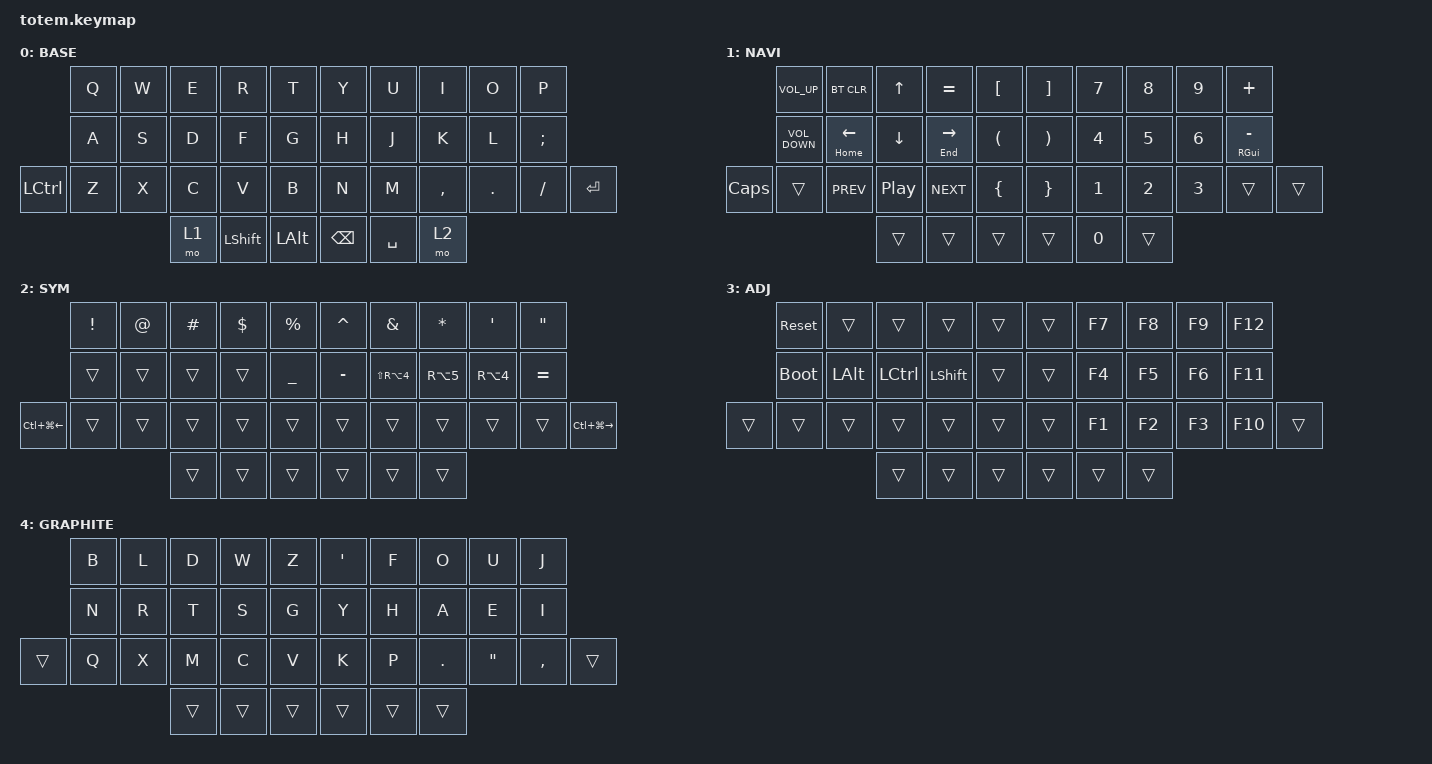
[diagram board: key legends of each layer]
//
//                                                        ▀▀▀▀▀     ▀▀▀▀▀          ▀▀█▀▀
//                                                        ▄▀▀▀▄  ▄  ▄▀▀▀▄  ▄  ▄▀▀▀▄  █  ▄▀▀▀▄
//                                                        █   █  █  █   █  █  █   █  █  █   █
//                                                         ▀▀▀   █   ▀▀▀   █   ▀▀▀   ▀   ▀▀▀
//                                                               █      ▄▄▄█▄▄▄    █   █  
//                                                               ▀      █  █  █     █▄█
//                                                             ▀▀▀▀▀    █  █  █      ▀
//                                                                      ▀  ▀  ▀
//
// ▄▄▄▄▄▄▄▄▄▄▄▄▄▄▄▄▄▄▄▄▄▄▄▄▄▄▄▄▄▄▄▄▄▄▄▄▄▄▄▄▄▄▄▄▄▄▄▄▄▄▄▄▄▄▄▄▄▄▄▄▄▄▄▄▄▄▄▄▄▄▄▄▄▄▄▄▄▄▄▄▄▄▄▄▄▄▄▄▄▄▄▄▄▄▄▄▄▄▄▄▄▄▄▄▄▄▄▄▄▄▄▄▄▄▄▄▄▄▄▄▄▄▄▄▄▄▄▄▄▄▄▄▄▄▄▄▄▄▄▄▄▄▄▄▄▄▄▄▄

#include <behaviors.dtsi>
#include <dt-bindings/zmk/bt.h>
#include <dt-bindings/zmk/keys.h>

#define BASE 0
#define NAV  1
#define SYM  2
#define ADJ  3
#define GRAPHITE 4

&mt {
    quick-tap-ms = <100>;
    global-quick-tap;
    flavor = "tap-preferred";
    tapping-term-ms = <170>;
};

/ {
    combos {
        compatible = "zmk,combos";

        combo_esc {
            timeout-ms = <50>;
            key-positions = <0 1>;
            bindings = <&kp ESC>;
        };

        layer3 {
            bindings = <&mo 3>;
            key-positions = <32 37>;
        };

        ToggleGraphite {
            bindings = <&tog 4>;
            key-positions = <20 31 34 35>;
        };
    };

    keymap {
        compatible = "zmk,keymap";

        // ▄▄▄▄▄▄▄▄▄▄▄▄▄▄▄▄▄▄▄▄▄▄▄▄▄▄▄▄▄▄▄▄▄▄▄▄▄▄▄▄▄▄▄▄▄▄▄▄▄▄▄▄▄▄▄▄▄▄▄▄▄▄▄▄▄▄▄▄▄▄▄▄▄▄▄▄▄▄▄▄▄▄▄▄▄▄▄▄▄▄▄▄▄▄▄▄▄▄▄▄▄▄▄▄▄▄▄▄▄▄▄▄▄▄▄▄▄▄▄▄▄▄▄▄▄▄▄▄▄▄▄▄▄▄▄▄▄▄▄▄▄▄▄▄▄▄▄▄▄

        base_layer {
            // ┏━━━━━━━━━━━━━━━━━━━━━━━━━━━━━━━━━━━━━━━┓

            label = "BASE";

            // ┗━━━━━━━━━━━━━━━━━━━━━━━━━━━━━━━━━━━━━━━┛
            //             ┏━━━━━━━━━━━┳━━━━━━━━━━━┳━━━━━━━━━━━┳━━━━━━━━━━━┳━━━━━━━━━━━┓   ┏━━━━━━━━━━━┳━━━━━━━━━━━┳━━━━━━━━━━━┳━━━━━━━━━━━┳━━━━━━━━━━━┓
            //             ┃     Q     ┃     W     ┃     E     ┃     R     ┃     T     ┃   ┃     Y     ┃     U     ┃     I     ┃     O     ┃     P     ┃
            //             ┣━━━━━━━━━━━╋━━━━━━━━━━━╋━━━━━━━━━━━╋━━━━━━━━━━━╋━━━━━━━━━━━┫   ┣━━━━━━━━━━━╋━━━━━━━━━━━╋━━━━━━━━━━━╋━━━━━━━━━━━╋━━━━━━━━━━━┫
            //             ┃     A     ┃     S     ┃     D     ┃     F     ┃     G     ┃   ┃     H     ┃     J     ┃     K     ┃     L     ┃     ;     ┃
            // ┏━━━━━━━━━━━╋━━━━━━━━━━━╋━━━━━━━━━━━╋━━━━━━━━━━━╋━━━━━━━━━━━╋━━━━━━━━━━━┫   ┣━━━━━━━━━━━╋━━━━━━━━━━━╋━━━━━━━━━━━╋━━━━━━━━━━━╋━━━━━━━━━━━╋━━━━━━━━━━━┓
            // ┃     Q     ┃     Z     ┃     X     ┃     C     ┃     V     ┃     B     ┃   ┃     N     ┃     M     ┃     ,     ┃     .     ┃     /     ┃     \     ┃
            // ┗━━━━━━━━━━━┻━━━━━━━━━━━┻━━━━━━━━━━━╋━━━━━━━━━━━╋━━━━━━━━━━━╋━━━━━━━━━━━┫   ┣━━━━━━━━━━━╋━━━━━━━━━━━╋━━━━━━━━━━━╋━━━━━━━━━━━┻━━━━━━━━━━━┻━━━━━━━━━━━┛
            //                                     ┃    DEL    ┃    SPC    ┃    TAB    ┃   ┃   ENTER   ┃    BSPC   ┃   DEL     ┃
            //                                     ┗━━━━━━━━━━━┻━━━━━━━━━━━┻━━━━━━━━━━━┛   ┗━━━━━━━━━━━┻━━━━━━━━━━━┻━━━━━━━━━━━┛

            bindings = <
           &kp Q  &kp W  &kp E  &kp R           &kp T           &kp Y          &kp U      &kp I      &kp O    &kp P
           &kp A  &kp S  &kp D  &kp F           &kp G           &kp H          &kp J      &kp K      &kp L    &kp SEMI
&kp LCTRL  &kp Z  &kp X  &kp C  &kp V           &kp B           &kp N          &kp M      &kp COMMA  &kp DOT  &kp FSLH  &kp ENTER
                         &mo 1  &kp LEFT_SHIFT  &kp LEFT_ALT    &kp BACKSPACE  &kp SPACE  &mo 2
            >;
        };

        // ▄▄▄▄▄▄▄▄▄▄▄▄▄▄▄▄▄▄▄▄▄▄▄▄▄▄▄▄▄▄▄▄▄▄▄▄▄▄▄▄▄▄▄▄▄▄▄▄▄▄▄▄▄▄▄▄▄▄▄▄▄▄▄▄▄▄▄▄▄▄▄▄▄▄▄▄▄▄▄▄▄▄▄▄▄▄▄▄▄▄▄▄▄▄▄▄▄▄▄▄▄▄▄▄▄▄▄▄▄▄▄▄▄▄▄▄▄▄▄▄▄▄▄▄▄▄▄▄▄▄▄▄▄▄▄▄▄▄▄▄▄▄▄▄▄▄▄▄▄

        nav_layer {
            // ┏━━━━━━━━━━━━━━━━━━━━━━━━━━━━━━━━━━━━━━━┓

            label = "NAVI";

            // ┗━━━━━━━━━━━━━━━━━━━━━━━━━━━━━━━━━━━━━━━┛
            //             ┏━━━━━━━━━━━┳━━━━━━━━━━━┳━━━━━━━━━━━┳━━━━━━━━━━━┳━━━━━━━━━━━┓   ┏━━━━━━━━━━━┳━━━━━━━━━━━┳━━━━━━━━━━━┳━━━━━━━━━━━┳━━━━━━━━━━━┓
            //             ┃           ┃           ┃     UP    ┃           ┃     {     ┃   ┃     }     ┃     7     ┃     8     ┃     9     ┃     +     ┃
            //             ┣━━━━━━━━━━━╋━━━━━━━━━━━╋━━━━━━━━━━━╋━━━━━━━━━━━╋━━━━━━━━━━━┫   ┣━━━━━━━━━━━╋━━━━━━━━━━━╋━━━━━━━━━━━╋━━━━━━━━━━━╋━━━━━━━━━━━┫
            //             ┃   SHIFT   ┃   LEFT    ┃    DOWN   ┃   RIGHT   ┃     [     ┃   ┃     ]     ┃     4     ┃     5     ┃     6     ┃     -     ┃
            // ┏━━━━━━━━━━━╋━━━━━━━━━━━╋━━━━━━━━━━━╋━━━━━━━━━━━╋━━━━━━━━━━━╋━━━━━━━━━━━┫   ┣━━━━━━━━━━━╋━━━━━━━━━━━╋━━━━━━━━━━━╋━━━━━━━━━━━╋━━━━━━━━━━━╋━━━━━━━━━━━┓
            // ┃           ┃           ┃   P UP    ┃  C LOCK   ┃  P DOWN   ┃     (     ┃   ┃     )     ┃     1     ┃     2     ┃     3     ┃     *     ┃           ┃
            // ┗━━━━━━━━━━━┻━━━━━━━━━━━┻━━━━━━━━━━━╋━━━━━━━━━━━╋━━━━━━━━━━━╋━━━━━━━━━━━┫   ┣━━━━━━━━━━━╋━━━━━━━━━━━╋━━━━━━━━━━━╋━━━━━━━━━━━┻━━━━━━━━━━━┻━━━━━━━━━━━┛
            //                                     ┃           ┃    TAB    ┃    SPC    ┃   ┃    DEL    ┃     0     ┃           ┃
            //                                     ┗━━━━━━━━━━━┻━━━━━━━━━━━┻━━━━━━━━━━━┛   ┗━━━━━━━━━━━┻━━━━━━━━━━━┻━━━━━━━━━━━┛

            bindings = <
          &kp C_VOLUME_UP    &bt BT_CLR           &kp UP_ARROW      &kp EQUAL            &kp LEFT_BRACKET        &kp RIGHT_BRACKET      &kp NUMBER_7  &kp NUMBER_8  &kp NUMBER_9  &kp PLUS
          &kp C_VOLUME_DOWN  &mt HOME LEFT_ARROW  &kp DOWN          &mt END RIGHT_ARROW  &kp LEFT_PARENTHESIS    &kp RIGHT_PARENTHESIS  &kp NUMBER_4  &kp NUMBER_5  &kp NUMBER_6  &mt RGUI MINUS
&kp CAPS  &trans             &kp C_PREV           &kp C_PLAY_PAUSE  &kp C_NEXT           &kp LEFT_BRACE          &kp RIGHT_BRACE        &kp NUMBER_1  &kp NUMBER_2  &kp NUMBER_3  &trans          &trans
                                                  &trans            &trans               &trans                  &trans                 &kp NUMBER_0  &trans
            >;
        };

        // ▄▄▄▄▄▄▄▄▄▄▄▄▄▄▄▄▄▄▄▄▄▄▄▄▄▄▄▄▄▄▄▄▄▄▄▄▄▄▄▄▄▄▄▄▄▄▄▄▄▄▄▄▄▄▄▄▄▄▄▄▄▄▄▄▄▄▄▄▄▄▄▄▄▄▄▄▄▄▄▄▄▄▄▄▄▄▄▄▄▄▄▄▄▄▄▄▄▄▄▄▄▄▄▄▄▄▄▄▄▄▄▄▄▄▄▄▄▄▄▄▄▄▄▄▄▄▄▄▄▄▄▄▄▄▄▄▄▄▄▄▄▄▄▄▄▄▄▄▄

        sim_layer {
            // ┏━━━━━━━━━━━━━━━━━━━━━━━━━━━━━━━━━━━━━━━┓

            label = "SYM";

            // ┗━━━━━━━━━━━━━━━━━━━━━━━━━━━━━━━━━━━━━━━┛
            //             ┏━━━━━━━━━━━┳━━━━━━━━━━━┳━━━━━━━━━━━┳━━━━━━━━━━━┳━━━━━━━━━━━┓   ┏━━━━━━━━━━━┳━━━━━━━━━━━┳━━━━━━━━━━━┳━━━━━━━━━━━┳━━━━━━━━━━━┓
            //             ┃     !     ┃     @     ┃     #     ┃     $     ┃     %     ┃   ┃     ˆ     ┃     &     ┃     Ü     ┃     '     ┃     "     ┃
            //             ┣━━━━━━━━━━━╋━━━━━━━━━━━╋━━━━━━━━━━━╋━━━━━━━━━━━╋━━━━━━━━━━━┫   ┣━━━━━━━━━━━╋━━━━━━━━━━━╋━━━━━━━━━━━╋━━━━━━━━━━━╋━━━━━━━━━━━┫
            //             ┃     Ä     ┃           ┃    SZ     ┃           ┃           ┃   ┃   MUTE    ┃   YEN     ┃   EURO    ┃  POUND    ┃     Ö     ┃
            // ┏━━━━━━━━━━━╋━━━━━━━━━━━╋━━━━━━━━━━━╋━━━━━━━━━━━╋━━━━━━━━━━━╋━━━━━━━━━━━┫   ┣━━━━━━━━━━━╋━━━━━━━━━━━╋━━━━━━━━━━━╋━━━━━━━━━━━╋━━━━━━━━━━━╋━━━━━━━━━━━┓
            // ┃           ┃  EMAIL1   ┃  EMAIL2   ┃           ┃           ┃           ┃   ┃   VOL-    ┃   VOL+    ┃   LAST    ┃   NEXT    ┃     \     ┃           ┃
            // ┗━━━━━━━━━━━┻━━━━━━━━━━━┻━━━━━━━━━━━╋━━━━━━━━━━━╋━━━━━━━━━━━╋━━━━━━━━━━━┫   ┣━━━━━━━━━━━╋━━━━━━━━━━━╋━━━━━━━━━━━╋━━━━━━━━━━━┻━━━━━━━━━━━┻━━━━━━━━━━━┛
            //                                     ┃           ┃    GIF    ┃    ADJ    ┃   ┃           ┃           ┃           ┃
            //                                     ┗━━━━━━━━━━━┻━━━━━━━━━━━┻━━━━━━━━━━━┛   ┗━━━━━━━━━━━┻━━━━━━━━━━━┻━━━━━━━━━━━┛

            bindings = <
                        &kp EXCL  &kp AT  &kp HASH  &kp DLLR  &kp PRCNT         &kp CARET  &kp AMPS        &kp ASTERISK  &kp SQT     &kp DQT
                        &trans    &trans  &trans    &trans    &kp UNDERSCORE    &kp MINUS  &kp LS(RA(N4))  &kp RA(N5)    &kp RA(N4)  &kp EQUAL
&kp LC(LG(LEFT_ARROW))  &trans    &trans  &trans    &trans    &trans            &trans     &trans          &trans        &trans      &trans     &kp LC(LG(RIGHT))
                                          &trans    &trans    &trans            &trans     &trans          &trans
            >;
        };

        // ▄▄▄▄▄▄▄▄▄▄▄▄▄▄▄▄▄▄▄▄▄▄▄▄▄▄▄▄▄▄▄▄▄▄▄▄▄▄▄▄▄▄▄▄▄▄▄▄▄▄▄▄▄▄▄▄▄▄▄▄▄▄▄▄▄▄▄▄▄▄▄▄▄▄▄▄▄▄▄▄▄▄▄▄▄▄▄▄▄▄▄▄▄▄▄▄▄▄▄▄▄▄▄▄▄▄▄▄▄▄▄▄▄▄▄▄▄▄▄▄▄▄▄▄▄▄▄▄▄▄▄▄▄▄▄▄▄▄▄▄▄▄▄▄▄▄▄▄▄

        adjust_layer {
            // ┏━━━━━━━━━━━━━━━━━━━━━━━━━━━━━━━━━━━━━━━┓

            label = "ADJ";

            // ┗━━━━━━━━━━━━━━━━━━━━━━━━━━━━━━━━━━━━━━━┛
            //             ┏━━━━━━━━━━━┳━━━━━━━━━━━┳━━━━━━━━━━━┳━━━━━━━━━━━┳━━━━━━━━━━━┓   ┏━━━━━━━━━━━┳━━━━━━━━━━━┳━━━━━━━━━━━┳━━━━━━━━━━━┳━━━━━━━━━━━┓
            //             ┃   RESET   ┃ BT CLEAR  ┃  OUT TOG  ┃           ┃           ┃   ┃           ┃    F7     ┃    F8     ┃    F9     ┃    F12    ┃
            //             ┣━━━━━━━━━━━╋━━━━━━━━━━━╋━━━━━━━━━━━╋━━━━━━━━━━━╋━━━━━━━━━━━┫   ┣━━━━━━━━━━━╋━━━━━━━━━━━╋━━━━━━━━━━━╋━━━━━━━━━━━╋━━━━━━━━━━━┫
            //             ┃ BOOTLOAD  ┃ BT NEXT   ┃           ┃           ┃           ┃   ┃           ┃    F4     ┃    F5     ┃    F6     ┃    F11    ┃
            // ┏━━━━━━━━━━━╋━━━━━━━━━━━╋━━━━━━━━━━━╋━━━━━━━━━━━╋━━━━━━━━━━━╋━━━━━━━━━━━┫   ┣━━━━━━━━━━━╋━━━━━━━━━━━╋━━━━━━━━━━━╋━━━━━━━━━━━╋━━━━━━━━━━━╋━━━━━━━━━━━┓
            // ┃           ┃           ┃ BT PREV   ┃           ┃           ┃           ┃   ┃           ┃    F1     ┃    F2     ┃    F3     ┃    F10    ┃           ┃
            // ┗━━━━━━━━━━━┻━━━━━━━━━━━┻━━━━━━━━━━━╋━━━━━━━━━━━╋━━━━━━━━━━━╋━━━━━━━━━━━┫   ┣━━━━━━━━━━━╋━━━━━━━━━━━╋━━━━━━━━━━━╋━━━━━━━━━━━┻━━━━━━━━━━━┻━━━━━━━━━━━┛
            //                                     ┃           ┃           ┃           ┃   ┃           ┃           ┃           ┃
            //                                     ┗━━━━━━━━━━━┻━━━━━━━━━━━┻━━━━━━━━━━━┛   ┗━━━━━━━━━━━┻━━━━━━━━━━━┻━━━━━━━━━━━┛

            bindings = <
        &sys_reset   &trans        &trans     &trans          &trans    &trans  &kp F7  &kp F8  &kp F9  &kp F12
        &bootloader  &kp LEFT_ALT  &kp LCTRL  &kp LEFT_SHIFT  &trans    &trans  &kp F4  &kp F5  &kp F6  &kp F11
&trans  &trans       &trans        &trans     &trans          &trans    &trans  &kp F1  &kp F2  &kp F3  &kp F10  &trans
                                   &trans     &trans          &trans    &trans  &trans  &trans
            >;
        };

        // ▄▄▄▄▄▄▄▄▄▄▄▄▄▄▄▄▄▄▄▄▄▄▄▄▄▄▄▄▄▄▄▄▄▄▄▄▄▄▄▄▄▄▄▄▄▄▄▄▄▄▄▄▄▄▄▄▄▄▄▄▄▄▄▄▄▄▄▄▄▄▄▄▄▄▄▄▄▄▄▄▄▄▄▄▄▄▄▄▄▄▄▄▄▄▄▄▄▄▄▄▄▄▄▄▄▄▄▄▄▄▄▄▄▄▄▄▄▄▄▄▄▄▄▄▄▄▄▄▄▄▄▄▄▄▄▄▄▄▄▄▄▄▄▄▄▄▄▄▄

        graphite_layer {
            // ┏━━━━━━━━━━━━━━━━━━━━━━━━━━━━━━━━━━━━━━━┓

            label = "GRAPHITE";

            // ┗━━━━━━━━━━━━━━━━━━━━━━━━━━━━━━━━━━━━━━━┛
            //             ┏━━━━━━━━━━━┳━━━━━━━━━━━┳━━━━━━━━━━━┳━━━━━━━━━━━┳━━━━━━━━━━━┓   ┏━━━━━━━━━━━┳━━━━━━━━━━━┳━━━━━━━━━━━┳━━━━━━━━━━━┳━━━━━━━━━━━┓
            //             ┃     Q     ┃     W     ┃     E     ┃     R     ┃     T     ┃   ┃     '     ┃     F     ┃     O     ┃     O     ┃     P     ┃
            //             ┣━━━━━━━━━━━╋━━━━━━━━━━━╋━━━━━━━━━━━╋━━━━━━━━━━━╋━━━━━━━━━━━┫   ┣━━━━━━━━━━━╋━━━━━━━━━━━╋━━━━━━━━━━━╋━━━━━━━━━━━╋━━━━━━━━━━━┫
            //             ┃     N     ┃     R     ┃     T     ┃     S     ┃     G     ┃   ┃     Y     ┃     H     ┃     A     ┃     E     ┃     I     ┃
            // ┏━━━━━━━━━━━╋━━━━━━━━━━━╋━━━━━━━━━━━╋━━━━━━━━━━━╋━━━━━━━━━━━╋━━━━━━━━━━━┫   ┣━━━━━━━━━━━╋━━━━━━━━━━━╋━━━━━━━━━━━╋━━━━━━━━━━━╋━━━━━━━━━━━╋━━━━━━━━━━━┓
            // ┃           ┃     Q     ┃     X     ┃     M     ┃    C      ┃     B     ┃   ┃     N     ┃     M     ┃     >     ┃     "     ┃     <     ┃     \     ┃
            // ┗━━━━━━━━━━━┻━━━━━━━━━━━┻━━━━━━━━━━━╋━━━━━━━━━━━╋━━━━━━━━━━━╋━━━━━━━━━━━┫   ┣━━━━━━━━━━━╋━━━━━━━━━━━╋━━━━━━━━━━━╋━━━━━━━━━━━┻━━━━━━━━━━━┻━━━━━━━━━━━┛
            //                                     ┃    DEL    ┃    TAB    ┃    SPC    ┃   ┃   ENTER   ┃           ┃   BSPC    ┃
            //                                     ┗━━━━━━━━━━━┻━━━━━━━━━━━┻━━━━━━━━━━━┛   ┗━━━━━━━━━━━┻━━━━━━━━━━━┻━━━━━━━━━━━┛

            bindings = <
        &kp B  &kp L  &kp D   &kp W   &kp Z     &kp SQT  &kp F   &kp O    &kp U    &kp J
        &kp N  &kp R  &kp T   &kp S   &kp G     &kp Y    &kp H   &kp A    &kp E    &kp I
&trans  &kp Q  &kp X  &kp M   &kp C   &kp V     &kp K    &kp P   &kp DOT  &kp DQT  &kp COMMA  &trans
                      &trans  &trans  &trans    &trans   &trans  &trans
            >;
        };
    };
};
